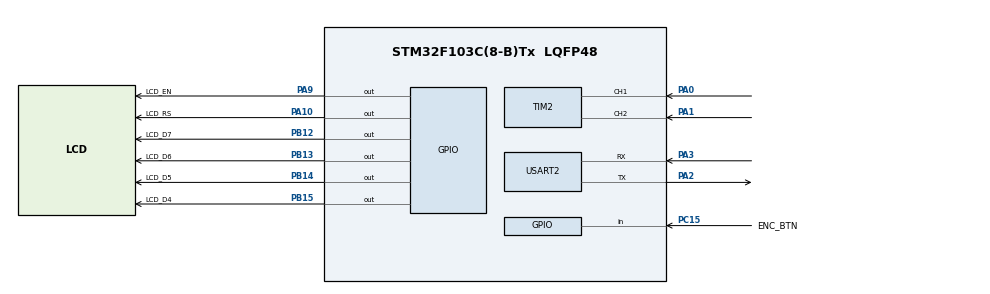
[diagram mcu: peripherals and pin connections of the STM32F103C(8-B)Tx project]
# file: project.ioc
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Mcu.Family=STM32F1
Mcu.Name=STM32F103C(8-B)Tx
Mcu.Package=LQFP48
NVIC.PriorityGroup=NVIC_PRIORITYGROUP_4
PA0-WKUP.Signal=S_TIM2_CH1_ETR
PA1.Signal=S_TIM2_CH2
PA10.GPIO_Label=LCD_RS
PA10.Signal=GPIO_Output
PA2.Mode=Asynchronous
PA2.Signal=USART2_TX
PA3.Mode=Asynchronous
PA3.Signal=USART2_RX
PA9.GPIO_Label=LCD_EN
PA9.Signal=GPIO_Output
PB12.GPIO_Label=LCD_D7
PB12.Signal=GPIO_Output
PB13.GPIO_Label=LCD_D6
PB13.Signal=GPIO_Output
PB14.GPIO_Label=LCD_D5
PB14.Signal=GPIO_Output
PB15.GPIO_Label=LCD_D4
PB15.Signal=GPIO_Output
PC15-OSC32_OUT.GPIO_Label=ENC_BTN
PC15-OSC32_OUT.Signal=GPIO_Input
PD0-OSC_IN.Mode=HSE-External-Oscillator
PD0-OSC_IN.Signal=RCC_OSC_IN
PD1-OSC_OUT.Mode=HSE-External-Oscillator
PD1-OSC_OUT.Signal=RCC_OSC_OUT
ProjectManager.HeapSize=0x200
ProjectManager.StackSize=0x400
ProjectManager.TargetToolchain=STM32CubeIDE
RCC.APB1Freq_Value=8000000
RCC.APB2Freq_Value=8000000
SH.S_TIM2_CH1_ETR.0=TIM2_CH1,Encoder_Interface
SH.S_TIM2_CH2.0=TIM2_CH2,Encoder_Interface
TIM2.AutoReloadPreload=TIM_AUTORELOAD_PRELOAD_ENABLE
TIM2.EncoderMode=TIM_ENCODERMODE_TI12
TIM2.IC1Filter=10
TIM2.IC1Polarity=TIM_ICPOLARITY_FALLING
TIM2.IC1Prescaler=TIM_ICPSC_DIV8
TIM2.IC2Filter=10
TIM2.IC2Polarity=TIM_ICPOLARITY_FALLING
TIM2.IC2Prescaler=TIM_ICPSC_DIV8
USART2.VirtualMode=VM_ASYNC
VP_SYS_VS_ND.Mode=No_Debug
board=custom

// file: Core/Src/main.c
/* USER CODE BEGIN Header */
/**
  ******************************************************************************
  * @file           : main.c
  * @brief          : Main program body
  ******************************************************************************
  * @attention
  *
  * Copyright (c) 2025 STMicroelectronics.
  * All rights reserved.
  *
  * This software is licensed under terms that can be found in the LICENSE file
  * in the root directory of this software component.
  * If no LICENSE file comes with this software, it is provided AS-IS.
  *
  ******************************************************************************
  */
/* USER CODE END Header */
#include "main.h"
#include "tim.h"
#include "usart.h"
#include "gpio.h"

/* USER CODE BEGIN Includes */

#include "lcd.h"
#include "TMC2209.h"

/* USER CODE END Includes */

/* USER CODE BEGIN PV */

TMC2209_HandleTypeDef htmc;
Lcd_HandleTypeDef lcd;

/* USER CODE END PV */

void SystemClock_Config(void);

/* USER CODE BEGIN 0 */

void handle_motor_movement(TMC2209_HandleTypeDef* htmc, uint32_t accel, uint32_t distance, float speed)
{
  while (true)
  {

    for (int i = 0; i <= accel; i++)
    {
      if (! HAL_GPIO_ReadPin(ENC_BTN_GPIO_Port, ENC_BTN_Pin)) return;
      TMC2209_moveAtVelocity(htmc, speed * i / accel);
      HAL_Delay(2);
    }
    if (! HAL_GPIO_ReadPin(ENC_BTN_GPIO_Port, ENC_BTN_Pin)) return;
    TMC2209_moveAtVelocity(htmc, speed);
    for (int j = 0; j < distance; j++)
    {
      if (! HAL_GPIO_ReadPin(ENC_BTN_GPIO_Port, ENC_BTN_Pin)) return;
      HAL_Delay(10);
    }
    if (! HAL_GPIO_ReadPin(ENC_BTN_GPIO_Port, ENC_BTN_Pin)) return;
    for (int i = accel; i > 0; i--)
    {
      if (! HAL_GPIO_ReadPin(ENC_BTN_GPIO_Port, ENC_BTN_Pin)) return;
      TMC2209_moveAtVelocity(htmc, speed * i / accel);
      HAL_Delay(2);
    }
    HAL_Delay(100);

    for (int i = 0; i <= accel; i++)
    {
      if (! HAL_GPIO_ReadPin(ENC_BTN_GPIO_Port, ENC_BTN_Pin)) return;
      TMC2209_moveAtVelocity(htmc, - speed * i / accel);
      HAL_Delay(2);
    }
    if (! HAL_GPIO_ReadPin(ENC_BTN_GPIO_Port, ENC_BTN_Pin)) return;
    TMC2209_moveAtVelocity(htmc, -speed);
    for (int j = 0; j < distance; j++)
    {
      if (! HAL_GPIO_ReadPin(ENC_BTN_GPIO_Port, ENC_BTN_Pin)) return;
      HAL_Delay(10);
    }
    if (! HAL_GPIO_ReadPin(ENC_BTN_GPIO_Port, ENC_BTN_Pin)) return;
    for (int i = accel; i > 0; i--)
    {
      if (! HAL_GPIO_ReadPin(ENC_BTN_GPIO_Port, ENC_BTN_Pin)) return;
      TMC2209_moveAtVelocity(htmc, - speed * i / accel);
      HAL_Delay(2);
    }
  }

}

/* USER CODE END 0 */

int main(void)
{

  /* MCU Configuration--------------------------------------------------------*/

  /* Reset of all peripherals, Initializes the Flash interface and the Systick. */
  HAL_Init();

  /* Configure the system clock */
  SystemClock_Config();

  /* Initialize all configured peripherals */
  MX_GPIO_Init();
  MX_USART2_UART_Init();
  MX_TIM2_Init();
  /* USER CODE BEGIN 2 */

  Lcd_PortType ports[] = {
    GPIOB, GPIOB, GPIOB, GPIOB
  };

  Lcd_PinType pins[] = {LCD_D4_Pin, LCD_D5_Pin, LCD_D6_Pin, LCD_D7_Pin};

  lcd = Lcd_create(ports, pins, GPIOA, LCD_RS_Pin, GPIOA, LCD_EN_Pin, LCD_4_BIT_MODE);

  // Lcd_string(&lcd, "Hello World");

  Lcd_cursor(&lcd, 1,0);

  // const char* hello = "Hello World\0";

  // HAL_UART_Transmit(&huart2, hello, sizeof(hello), 32767);

  htmc = TMC2209_create(&huart2, SERIAL_ADDRESS_0); // Assuming SERIAL_ADDRESS_0 is the desired address
  TMC2209_init(&htmc);

  // TMC2209_setStallGuardThreshold(&htmc, 20);

  HAL_TIM_Encoder_Start(&htim2, TIM_CHANNEL_ALL);

  TMC2209_disable(&htmc);
  /* USER CODE END 2 */

  /* Infinite loop */
  /* USER CODE BEGIN WHILE */

  uint32_t accel = 100;
  uint32_t distance = 100;
  float speed = 5000;
  bool stealthchop = false;

  bool run = false;
  int current = 100;
  bool last_changed;

  // Menu items
  const char* menuItems[] = {
    "accel",
    "distance",
    "speed",
    "stealthchop",
    "current",
    "start"
  };
  const int numMenuItems = sizeof(menuItems) / sizeof(menuItems[0]);

  int selectedMenuItem = 0;
  uint32_t encoderValue = 0;
  uint32_t initialEncoderValue = 0;
  bool adjustingParameter = false;

  while (1)
  {
    if (run)
    {
      Lcd_clear(&lcd);
      Lcd_cursor(&lcd, 0, 0);
      Lcd_string(&lcd, "RUNNING...");
      TMC2209_enable(&htmc);
      if (stealthchop)
      {
        TMC2209_enableStealthChop(&htmc);
      }
      else
      {
        TMC2209_disableStealthChop(&htmc);
      }
      HAL_Delay(200);
      TMC2209_setRunCurrent(&htmc, current);
      HAL_Delay(200);

      handle_motor_movement(&htmc, accel, distance, speed);

      TMC2209_moveAtVelocity(&htmc, 0);
      TMC2209_setRunCurrent(&htmc, 10);
      TMC2209_disable(&htmc);
      run = false;
      while (! HAL_GPIO_ReadPin(ENC_BTN_GPIO_Port, ENC_BTN_Pin)); // Wait for button release
    }
    else
    {
      if (!adjustingParameter)
      {
        // Menu navigation
        encoderValue = (TIM2->CNT) >> 2;
        int menuIndex = (encoderValue - initialEncoderValue) % numMenuItems;
        if (menuIndex < 0) menuIndex += numMenuItems;
        selectedMenuItem = menuIndex;

        // Display menu
        Lcd_clear(&lcd);
        Lcd_cursor(&lcd, 0, 0);
        Lcd_string(&lcd, ">");

        for (int i = 0; i < 2; i++) // Display only two items at a time
        {
          int itemIndex = (selectedMenuItem + i) % numMenuItems;
          Lcd_cursor(&lcd, i, 1);
          Lcd_string(&lcd, menuItems[itemIndex]);
          Lcd_cursor(&lcd, i, 10); // Display values on the right side
          switch (itemIndex)
          {
            case 0: // accel
              Lcd_int(&lcd, accel);
              break;
            case 1: // distance
              Lcd_int(&lcd, distance);
              break;
            case 2: // speed
              Lcd_int(&lcd, speed);
              break;
            case 3: // stealthchop
              if (stealthchop)
              {
                Lcd_string(&lcd, "true");
              }
              else
              Lcd_string(&lcd, "false");
              break;
            case 4: // current
              Lcd_int(&lcd, current);
              break;
            case 5: // start
              Lcd_string(&lcd, "");
              break;
          }
        }

        // Select item
        if (! HAL_GPIO_ReadPin(ENC_BTN_GPIO_Port, ENC_BTN_Pin))
        {
          HAL_Delay(100); // Debounce
          if (selectedMenuItem == numMenuItems - 1) // Start selected
          {
            HAL_Delay(500); // Delay before starting
            run = true;
          }
          else
          {
            adjustingParameter = true;
            initialEncoderValue = (TIM2->CNT) >> 2; // Store initial value for adjustment
          }
          while (! HAL_GPIO_ReadPin(ENC_BTN_GPIO_Port, ENC_BTN_Pin)); // Wait for button release
        }
      }
      else // Adjusting parameter
      {
        encoderValue = (TIM2->CNT) >> 2;
        int diff = encoderValue - initialEncoderValue;

        Lcd_clear(&lcd);
        Lcd_cursor(&lcd, 0, 0);
        Lcd_string(&lcd, menuItems[selectedMenuItem]);
        Lcd_cursor(&lcd, 1, 0);
        Lcd_string(&lcd, "Adjust:");

        switch (selectedMenuItem)
        {
          case 0: // accel
            accel += diff;
            if (accel < 1) accel = 1;
            if (accel > 200) accel = 200;
            Lcd_cursor(&lcd, 1, 10);
            Lcd_int(&lcd, accel);
            break;
          case 1: // distance
            distance += diff;
            if (distance < 10) distance = 10;
            if (distance > 200) distance = 200;
            Lcd_cursor(&lcd, 1, 10);
            Lcd_int(&lcd, distance);
            break;
          case 2: // speed
            speed += diff * 10; // Adjust speed in larger steps
            if (speed < 100) speed = 100;
            if (speed > 10000) speed = 10000;
            Lcd_cursor(&lcd, 1, 10);
            Lcd_int(&lcd, speed);
            break;
          case 3: // stealthchop
            if (diff != 0) // Toggle on any encoder movement
            {
              stealthchop = !stealthchop;
              initialEncoderValue = encoderValue; // Reset initial value after toggle
            }
            Lcd_cursor(&lcd, 1, 10);
            if (stealthchop)
            {
              Lcd_string(&lcd, "true");
            }
            else
            {
              Lcd_string(&lcd, "false");
            }
            break;
          case 4: // current
            current += diff;
            if (current < 2) current = 2;
            if (current > 100) current = 100;
            Lcd_cursor(&lcd, 1, 10);
            Lcd_int(&lcd, current);
            break;
        }

        initialEncoderValue = encoderValue; // Update initial value for continuous adjustment

        // Exit adjustment
        if (! HAL_GPIO_ReadPin(ENC_BTN_GPIO_Port, ENC_BTN_Pin))
        {
          HAL_Delay(100); // Debounce
          adjustingParameter = false;
          initialEncoderValue = (TIM2->CNT) >> 2; // Store initial value for menu navigation
          while (! HAL_GPIO_ReadPin(ENC_BTN_GPIO_Port, ENC_BTN_Pin)); // Wait for button release
        }
      }
      if (!last_changed)
      {
        // last_changed = !((TIM2->CNT) >> 2 == encoderValue && (HAL_GPIO_ReadPin(ENC_BTN_GPIO_Port, ENC_BTN_Pin)));
        while ((TIM2->CNT) >> 2 == encoderValue && (HAL_GPIO_ReadPin(ENC_BTN_GPIO_Port, ENC_BTN_Pin)))
        {
          /* code */
          HAL_Delay(10); // Reduced delay for smoother menu scrolling
        }
      }
      last_changed = !((HAL_GPIO_ReadPin(ENC_BTN_GPIO_Port, ENC_BTN_Pin)));

    }

    /* USER CODE END WHILE */

  }
}

void SystemClock_Config(void)
{
  RCC_OscInitTypeDef RCC_OscInitStruct = {0};
  RCC_ClkInitTypeDef RCC_ClkInitStruct = {0};

  /** Initializes the RCC Oscillators according to the specified parameters
  * in the RCC_OscInitTypeDef structure.
  */
  RCC_OscInitStruct.OscillatorType = RCC_OSCILLATORTYPE_HSI;
  RCC_OscInitStruct.HSIState = RCC_HSI_ON;
  RCC_OscInitStruct.HSICalibrationValue = RCC_HSICALIBRATION_DEFAULT;
  RCC_OscInitStruct.PLL.PLLState = RCC_PLL_NONE;
  if (HAL_RCC_OscConfig(&RCC_OscInitStruct) != HAL_OK)
  {
    Error_Handler();
  }

  /** Initializes the CPU, AHB and APB buses clocks
  */
  RCC_ClkInitStruct.ClockType = RCC_CLOCKTYPE_HCLK|RCC_CLOCKTYPE_SYSCLK
                              |RCC_CLOCKTYPE_PCLK1|RCC_CLOCKTYPE_PCLK2;
  RCC_ClkInitStruct.SYSCLKSource = RCC_SYSCLKSOURCE_HSI;
  RCC_ClkInitStruct.AHBCLKDivider = RCC_SYSCLK_DIV1;
  RCC_ClkInitStruct.APB1CLKDivider = RCC_HCLK_DIV1;
  RCC_ClkInitStruct.APB2CLKDivider = RCC_HCLK_DIV1;

  if (HAL_RCC_ClockConfig(&RCC_ClkInitStruct, FLASH_LATENCY_0) != HAL_OK)
  {
    Error_Handler();
  }
}

void Error_Handler(void)
{
  __disable_irq();
  while (1)
  {
  }
}
